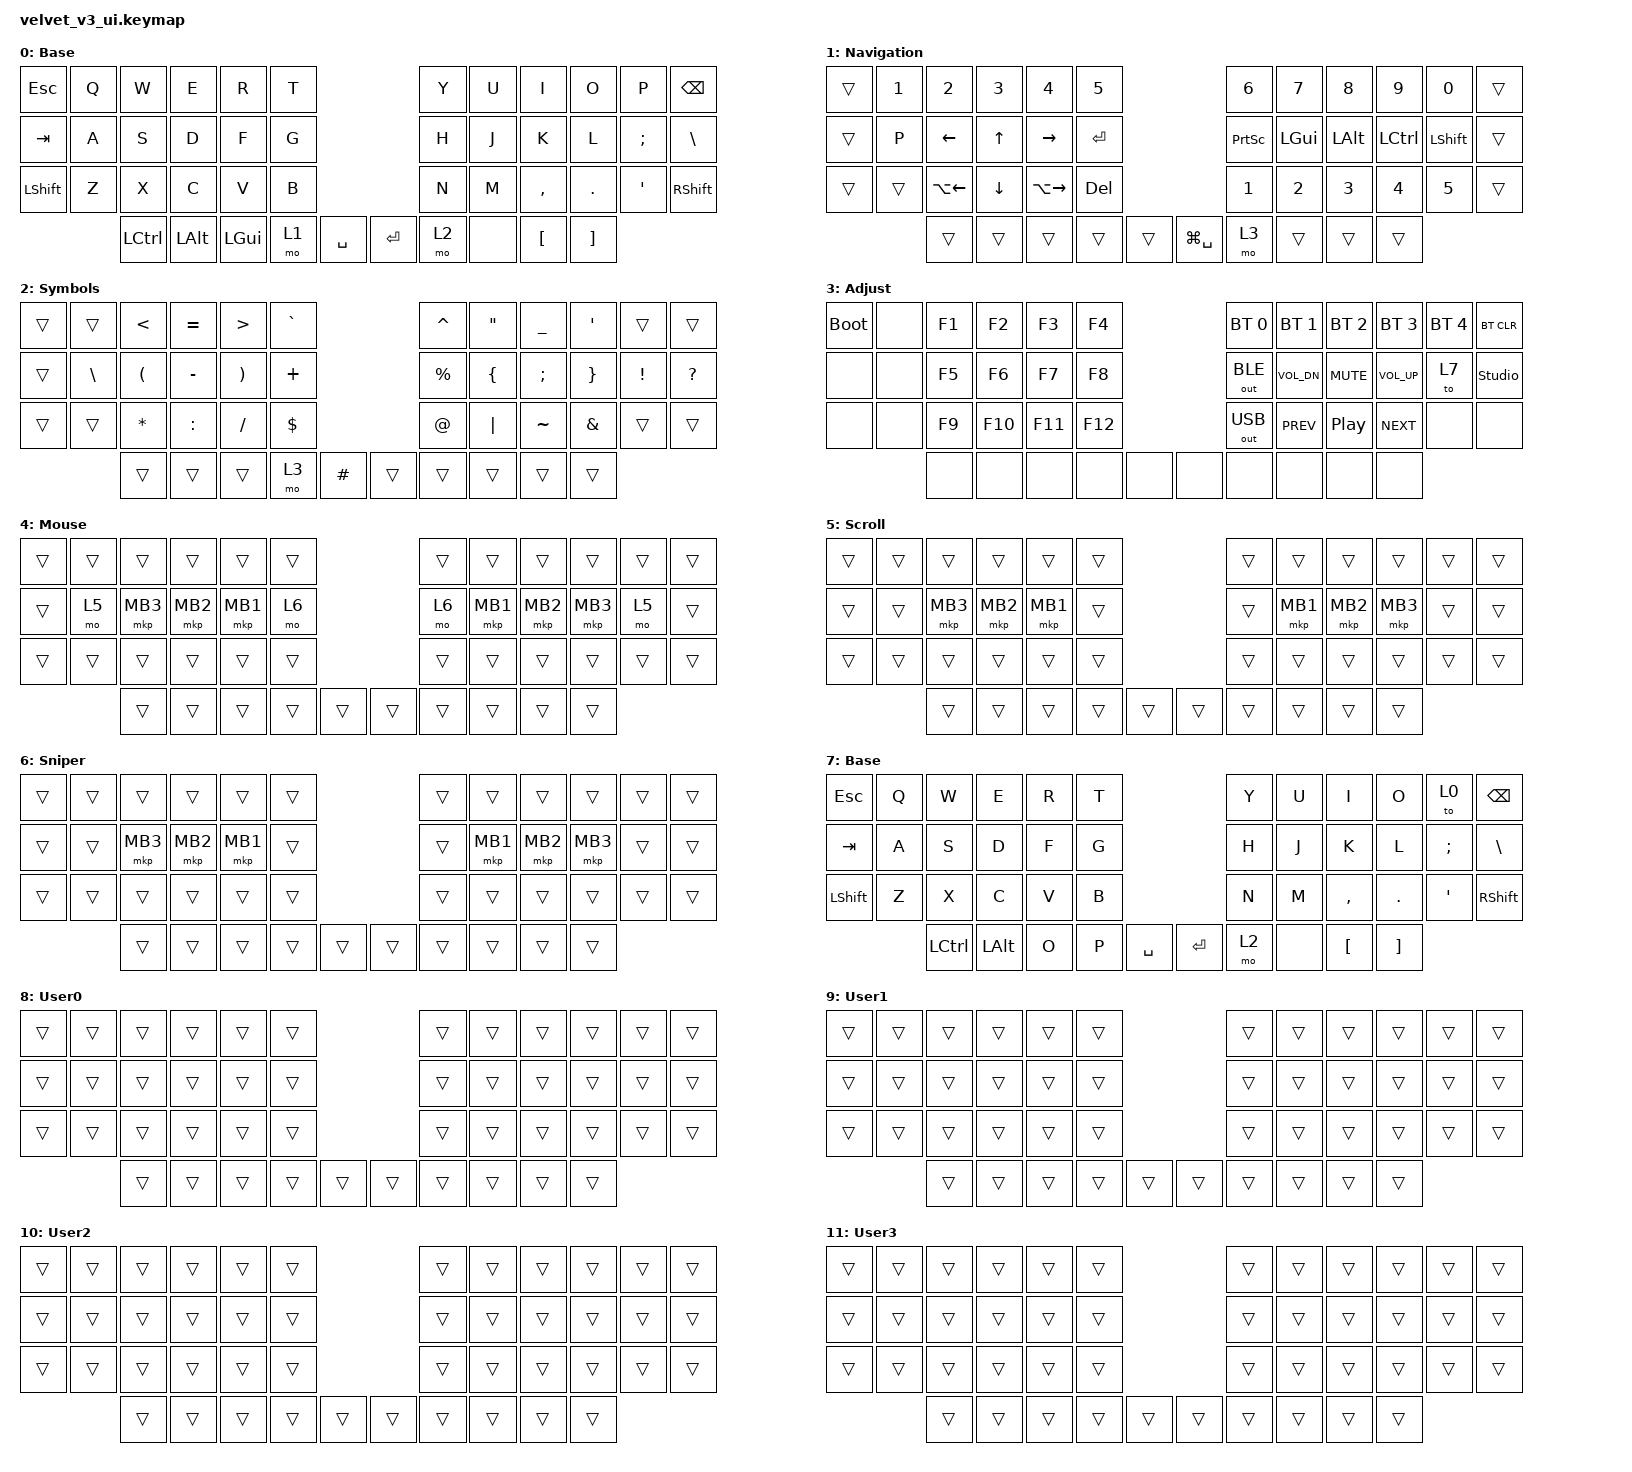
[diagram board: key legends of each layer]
#include "keys_ru.h"
#include <dt-bindings/zmk/input_transform.h>
#include <input/processors.dtsi>
#include <zephyr/dt-bindings/input/input-event-codes.h>
#include <behaviors.dtsi>
#include <dt-bindings/zmk/bt.h>
#include <dt-bindings/zmk/keys.h>
#include <dt-bindings/zmk/outputs.h>
#include <dt-bindings/zmk/pointing.h>

/ {
    behaviors {
        zip_auto_mouse: zip_auto_mouse {
            compatible = "zmk,input-processor-temp-layer";
            #input-processor-cells = <2>;
            require-prior-idle-ms = <800>;
            excluded-positions = <>;
        };
    };

    keymap {
        compatible = "zmk,keymap";

        base {
            bindings = <
&kp ESC    &kp Q  &kp W      &kp E     &kp R         &kp T                        &kp Y  &kp U  &kp I      &kp O     &kp P     &kp BSPC
&kp TAB    &kp A  &kp S      &kp D     &kp F         &kp G                        &kp H  &kp J  &kp K      &kp L     &kp SEMI  &kp BSLH
&kp LSHFT  &kp Z  &kp X      &kp C     &kp V         &kp B                        &kp N  &kp M  &kp COMMA  &kp DOT   &kp SQT   &kp RSHFT
                  &kp LCTRL  &kp LALT  &kp LEFT_GUI  &mo 1  &kp SPACE    &kp RET  &mo 2  &none  &kp LBKT   &kp RBKT
            >;

            display-name = "Base";
        };

        Navigation {
            bindings = <
&trans  &kp N1  &kp N2          &kp N3    &kp NUMBER_4     &kp N5                            &kp N6           &kp N7        &kp N8        &kp N9        &kp N0          &trans
&trans  &kp P   &kp LEFT_ARROW  &kp UP    &kp RIGHT_ARROW  &kp RET                           &kp PRINTSCREEN  &kp LEFT_GUI  &kp LEFT_ALT  &kp LCTRL     &kp LEFT_SHIFT  &trans
&trans  &trans  &kp LA(LEFT)    &kp DOWN  &kp LA(RIGHT)    &kp DEL                           &kp N1           &kp NUMBER_2  &kp NUMBER_3  &kp NUMBER_4  &kp NUMBER_5    &trans
                &trans          &trans    &trans           &trans   &trans    &kp LG(SPACE)  &mo 3            &trans        &trans        &trans
            >;

            display-name = "Navigation";
        };

        sym {
            bindings = <
&trans  &trans    &kp LT    &kp EQUAL  &kp GT    &kp GRAVE                      &kp CARET  &kp DQT   &kp UNDER  &kp SQT   &trans    &trans
&trans  &kp BSLH  &kp LPAR  &kp MINUS  &kp RPAR  &kp PLUS                       &kp PRCNT  &kp LBRC  &kp SEMI   &kp RBRC  &kp EXCL  &kp QUESTION
&trans  &trans    &kp STAR  &kp COLON  &kp FSLH  &kp DLLR                       &kp AT     &kp PIPE  &kp TILDE  &kp AMPS  &trans    &trans
                  &trans    &trans     &trans    &mo 3      &kp HASH    &trans  &trans     &trans    &trans     &trans
            >;

            display-name = "Symbols";
        };

        adj {
            bindings = <
&bootloader  &none  &kp F1  &kp F2   &kp F3   &kp F4                   &bt BT_SEL 0  &bt BT_SEL 1  &bt BT_SEL 2      &bt BT_SEL 3  &bt BT_SEL 4  &bt BT_CLR
&none        &none  &kp F5  &kp F6   &kp F7   &kp F8                   &out OUT_BLE  &kp C_VOL_DN  &kp C_MUTE        &kp C_VOL_UP  &to 7         &studio_unlock
&none        &none  &kp F9  &kp F10  &kp F11  &kp F12                  &out OUT_USB  &kp C_PREV    &kp C_PLAY_PAUSE  &kp C_NEXT    &none         &none
                    &none   &none    &none    &none    &none    &none  &none         &none         &none             &none
            >;

            display-name = "Adjust";
        };

        mouse {
            bindings = <
&trans  &trans  &trans    &trans    &trans    &trans                    &trans  &trans    &trans    &trans    &trans  &trans
&trans  &mo 5   &mkp MB3  &mkp MB2  &mkp MB1  &mo 6                     &mo 6   &mkp MB1  &mkp MB2  &mkp MB3  &mo 5   &trans
&trans  &trans  &trans    &trans    &trans    &trans                    &trans  &trans    &trans    &trans    &trans  &trans
                &trans    &trans    &trans    &trans  &trans    &trans  &trans  &trans    &trans    &trans
            >;

            display-name = "Mouse";
        };

        scroll {
            bindings = <
&trans  &trans  &trans    &trans    &trans    &trans                    &trans  &trans    &trans    &trans    &trans  &trans
&trans  &trans  &mkp MB3  &mkp MB2  &mkp MB1  &trans                    &trans  &mkp MB1  &mkp MB2  &mkp MB3  &trans  &trans
&trans  &trans  &trans    &trans    &trans    &trans                    &trans  &trans    &trans    &trans    &trans  &trans
                &trans    &trans    &trans    &trans  &trans    &trans  &trans  &trans    &trans    &trans
            >;

            display-name = "Scroll";
        };

        sniper {
            bindings = <
&trans  &trans  &trans    &trans    &trans    &trans                    &trans  &trans    &trans    &trans    &trans  &trans
&trans  &trans  &mkp MB3  &mkp MB2  &mkp MB1  &trans                    &trans  &mkp MB1  &mkp MB2  &mkp MB3  &trans  &trans
&trans  &trans  &trans    &trans    &trans    &trans                    &trans  &trans    &trans    &trans    &trans  &trans
                &trans    &trans    &trans    &trans  &trans    &trans  &trans  &trans    &trans    &trans
            >;

            display-name = "Sniper";
        };

        games {
            display-name = "Base";
            bindings = <
&kp ESC    &kp Q  &kp W      &kp E     &kp R  &kp T                        &kp Y  &kp U  &kp I      &kp O     &to 0     &kp BSPC
&kp TAB    &kp A  &kp S      &kp D     &kp F  &kp G                        &kp H  &kp J  &kp K      &kp L     &kp SEMI  &kp BSLH
&kp LSHFT  &kp Z  &kp X      &kp C     &kp V  &kp B                        &kp N  &kp M  &kp COMMA  &kp DOT   &kp SQT   &kp RSHFT
                  &kp LCTRL  &kp LALT  &kp O  &kp P  &kp SPACE    &kp RET  &mo 2  &none  &kp LBKT   &kp RBKT
            >;
        };

        User0 {
            bindings = <
&trans  &trans  &trans  &trans  &trans  &trans                    &trans  &trans  &trans  &trans  &trans  &trans
&trans  &trans  &trans  &trans  &trans  &trans                    &trans  &trans  &trans  &trans  &trans  &trans
&trans  &trans  &trans  &trans  &trans  &trans                    &trans  &trans  &trans  &trans  &trans  &trans
                &trans  &trans  &trans  &trans  &trans    &trans  &trans  &trans  &trans  &trans
            >;

            display-name = "User0";
        };

        User1 {
            bindings = <
&trans  &trans  &trans  &trans  &trans  &trans                    &trans  &trans  &trans  &trans  &trans  &trans
&trans  &trans  &trans  &trans  &trans  &trans                    &trans  &trans  &trans  &trans  &trans  &trans
&trans  &trans  &trans  &trans  &trans  &trans                    &trans  &trans  &trans  &trans  &trans  &trans
                &trans  &trans  &trans  &trans  &trans    &trans  &trans  &trans  &trans  &trans
            >;

            display-name = "User1";
        };

        User2 {
            bindings = <
&trans  &trans  &trans  &trans  &trans  &trans                    &trans  &trans  &trans  &trans  &trans  &trans
&trans  &trans  &trans  &trans  &trans  &trans                    &trans  &trans  &trans  &trans  &trans  &trans
&trans  &trans  &trans  &trans  &trans  &trans                    &trans  &trans  &trans  &trans  &trans  &trans
                &trans  &trans  &trans  &trans  &trans    &trans  &trans  &trans  &trans  &trans
            >;

            display-name = "User2";
        };

        User3 {
            bindings = <
&trans  &trans  &trans  &trans  &trans  &trans                    &trans  &trans  &trans  &trans  &trans  &trans
&trans  &trans  &trans  &trans  &trans  &trans                    &trans  &trans  &trans  &trans  &trans  &trans
&trans  &trans  &trans  &trans  &trans  &trans                    &trans  &trans  &trans  &trans  &trans  &trans
                &trans  &trans  &trans  &trans  &trans    &trans  &trans  &trans  &trans  &trans
            >;

            display-name = "User3";
        };
    };
};

&trackball { cpi = <1000>; };

&trackball_listener {
    input-processors = <&zip_auto_mouse 4 500>, <&zip_xy_scaler 9 20>;

    scroller {
        layers = <5>;
        input-processors =
            <&zip_xy_transform INPUT_TRANSFORM_Y_INVERT>,
            <&zip_xy_scaler 1 32>,
            <&zip_xy_to_scroll_mapper>;
    };

    sniper {
        layers = <6>;
        input-processors = <&zip_xy_scaler 1 4>;
    };
};
